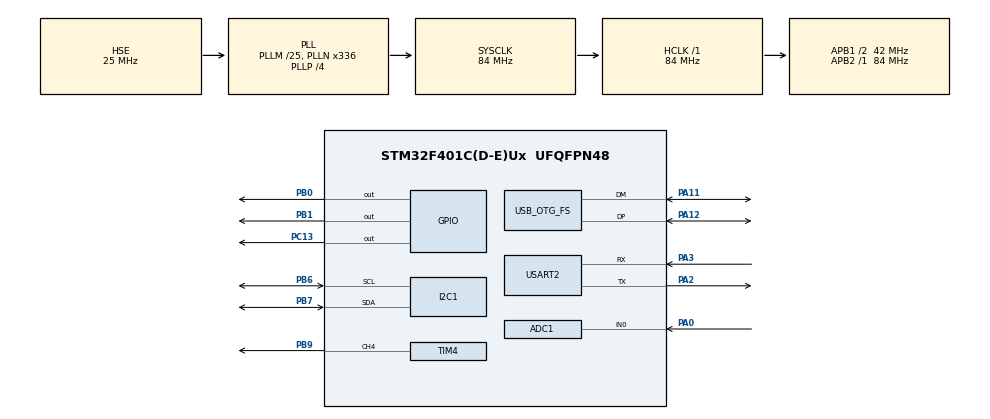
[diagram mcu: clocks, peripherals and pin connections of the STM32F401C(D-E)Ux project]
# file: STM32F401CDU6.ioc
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ADC1.Channel-0\#ChannelRegularConversion=ADC_CHANNEL_VREFINT
ADC1.Channel-1\#ChannelRegularConversion=ADC_CHANNEL_0
ADC1.ContinuousConvMode=ENABLE
ADC1.DMAContinuousRequests=ENABLE
ADC1.EOCSelection=ADC_EOC_SEQ_CONV
ADC1.NbrOfConversion=2
ADC1.NbrOfConversionFlag=1
ADC1.Rank-0\#ChannelRegularConversion=1
ADC1.Rank-1\#ChannelRegularConversion=2
ADC1.SamplingTime-0\#ChannelRegularConversion=ADC_SAMPLETIME_144CYCLES
ADC1.SamplingTime-1\#ChannelRegularConversion=ADC_SAMPLETIME_144CYCLES
ADC1.ScanConvMode=ENABLE
ADC1.master=1
Dma.ADC1.0.Direction=DMA_PERIPH_TO_MEMORY
Dma.ADC1.0.FIFOMode=DMA_FIFOMODE_DISABLE
Dma.ADC1.0.Instance=DMA2_Stream0
Dma.ADC1.0.MemDataAlignment=DMA_MDATAALIGN_HALFWORD
Dma.ADC1.0.MemInc=DMA_MINC_ENABLE
Dma.ADC1.0.Mode=DMA_CIRCULAR
Dma.ADC1.0.PeriphDataAlignment=DMA_PDATAALIGN_HALFWORD
Dma.ADC1.0.PeriphInc=DMA_PINC_DISABLE
Dma.ADC1.0.Priority=DMA_PRIORITY_LOW
Dma.Request0=ADC1
I2C1.I2C_Mode=I2C_Fast
Mcu.Family=STM32F4
Mcu.Name=STM32F401C(D-E)Ux
Mcu.Package=UFQFPN48
NVIC.DMA2_Stream0_IRQn=true\:0\:0\:false\:false\:true\:false\:true\:true
NVIC.OTG_FS_IRQn=true\:0\:0\:false\:false\:true\:false\:true\:true
NVIC.PriorityGroup=NVIC_PRIORITYGROUP_4
PA0-WKUP.Signal=ADCx_IN0
PA11.Mode=Device_Only
PA11.Signal=USB_OTG_FS_DM
PA12.Mode=Device_Only
PA12.Signal=USB_OTG_FS_DP
PA13.Mode=Serial_Wire
PA13.Signal=SYS_JTMS-SWDIO
PA14.Mode=Serial_Wire
PA14.Signal=SYS_JTCK-SWCLK
PA2.Mode=Asynchronous
PA2.Signal=USART2_TX
PA3.Mode=Asynchronous
PA3.Signal=USART2_RX
PB0.Signal=GPIO_Output
PB1.Signal=GPIO_Output
PB6.Mode=I2C
PB6.Signal=I2C1_SCL
PB7.Mode=I2C
PB7.Signal=I2C1_SDA
PB9.Signal=S_TIM4_CH4
PC13-ANTI_TAMP.Signal=GPIO_Output
PH0\ -\ OSC_IN.Mode=HSE-External-Oscillator
PH0\ -\ OSC_IN.Signal=RCC_OSC_IN
PH1\ -\ OSC_OUT.Mode=HSE-External-Oscillator
PH1\ -\ OSC_OUT.Signal=RCC_OSC_OUT
ProjectManager.HeapSize=0x200
ProjectManager.StackSize=0x400
ProjectManager.TargetToolchain=STM32CubeIDE
RCC.48MHZClocksFreq_Value=48000000
RCC.AHBFreq_Value=84000000
RCC.APB1CLKDivider=RCC_HCLK_DIV2
RCC.APB1Freq_Value=42000000
RCC.APB1TimFreq_Value=84000000
RCC.APB2Freq_Value=84000000
RCC.APB2TimFreq_Value=84000000
RCC.CortexFreq_Value=84000000
RCC.HCLKFreq_Value=84000000
RCC.HSE_VALUE=25000000
RCC.HSI_VALUE=16000000
RCC.LSE_VALUE=32768
RCC.PLLM=25
RCC.PLLN=336
RCC.PLLP=RCC_PLLP_DIV4
RCC.PLLQ=7
RCC.SYSCLKFreq_VALUE=84000000
RCC.SYSCLKSource=RCC_SYSCLKSOURCE_PLLCLK
RCC.VCOOutputFreq_Value=336000000
SH.ADCx_IN0.0=ADC1_IN0,IN0
SH.S_TIM4_CH4.0=TIM4_CH4,PWM Generation4 CH4
TIM4.AutoReloadPreload=TIM_AUTORELOAD_PRELOAD_ENABLE
TIM4.Channel-PWM\ Generation4\ CH4=TIM_CHANNEL_4
TIM4.Period=65535
TIM4.Prescaler=0
USART2.VirtualMode=VM_ASYNC
USB_DEVICE.CLASS_NAME_FS=CDC
USB_DEVICE.VirtualMode-CDC_FS=Cdc
USB_DEVICE.VirtualModeFS=Cdc_FS
USB_OTG_FS.VirtualMode=Device_Only
VP_ADC1_Vref_Input.Mode=IN-Vrefint
VP_TIM4_VS_ClockSourceINT.Mode=Internal
VP_USB_DEVICE_VS_USB_DEVICE_CDC_FS.Mode=CDC_FS
board=custom

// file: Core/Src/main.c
/* USER CODE BEGIN Header */
/**
  ******************************************************************************
  * @file           : main.c
  * @brief          : Main program body
  ******************************************************************************
  * @attention
  *
  * Copyright (c) 2025 STMicroelectronics.
  * All rights reserved.
  *
  * This software is licensed under terms that can be found in the LICENSE file
  * in the root directory of this software component.
  * If no LICENSE file comes with this software, it is provided AS-IS.
  *
  ******************************************************************************
  */
/* USER CODE END Header */
#include "main.h"
#include "usb_device.h"

/* USER CODE BEGIN Includes */
#include "ssd1306.h"
#include "ssd1306_fonts.h"
#include "usbd_cdc_if.h"
#include <stdio.h>
#include <string.h>
#include <math.h>
/* USER CODE END Includes */

/* USER CODE BEGIN PD */
#define LED_PIN GPIO_PIN_13
#define LED_PIN_2 GPIO_PIN_0
#define LED_PIN_3 GPIO_PIN_1
#define INTERVAL 1000
#define R_FIXED 10000.0f
#define M_SLOPE -0.7f
#define B_INTERCEPT 5.39897f
/* USER CODE END PD */

ADC_HandleTypeDef hadc1;
DMA_HandleTypeDef hdma_adc1;

I2C_HandleTypeDef hi2c1;

TIM_HandleTypeDef htim4;

UART_HandleTypeDef huart2;

/* USER CODE BEGIN PV */
volatile uint16_t adcValue[2];
/* USER CODE END PV */

void SystemClock_Config(void);
static void MX_GPIO_Init(void);
static void MX_DMA_Init(void);
static void MX_ADC1_Init(void);
static void MX_USART2_UART_Init(void);
static void MX_TIM4_Init(void);
static void MX_I2C1_Init(void);

/* USER CODE BEGIN 0 */
int _write(int file, char *ptr, int len) {
  uint32_t start = HAL_GetTick();

  while (CDC_Transmit_FS((uint8_t*)ptr, len)/* ; */ == USBD_BUSY) {
    HAL_Delay(1); // Tunggu sampai buffer kosong

    if (HAL_GetTick() - start >= 50)
      break;
  }

  return len;
}
/* USER CODE END 0 */

int main(void)
{

  /* MCU Configuration--------------------------------------------------------*/

  /* Reset of all peripherals, Initializes the Flash interface and the Systick. */
  HAL_Init();

  /* Configure the system clock */
  SystemClock_Config();

  /* Initialize all configured peripherals */
  MX_GPIO_Init();
  MX_DMA_Init();
  MX_ADC1_Init();
  MX_USART2_UART_Init();
  MX_TIM4_Init();
  MX_USB_DEVICE_Init();
  MX_I2C1_Init();
  /* USER CODE BEGIN 2 */
  ssd1306_Init();
  HAL_ADC_Start_DMA(&hadc1, (uint32_t*)adcValue, 2);
  HAL_TIM_PWM_Start(&htim4, TIM_CHANNEL_4);

  int8_t direction = 1;
  uint8_t /* messageBuffer[32],  */state = 1, lastState = 0, led2State = 0;
  uint16_t digitalDataPwm = 0;
  uint32_t currentMillis, previousMillis = 0, prevMilLed2 = 0, prevMilLed3 = 0;
  float voltageLdr, resistanceLdr, lux;
  char msg1th[24];
  char msg2th[24];
  char msg3th[24];
  /* USER CODE END 2 */

  /* Infinite loop */
  /* USER CODE BEGIN WHILE */
  while (1) {
    currentMillis = HAL_GetTick();

    if (currentMillis - previousMillis >= INTERVAL) {
      previousMillis = currentMillis;

      HAL_GPIO_TogglePin(GPIOC, LED_PIN);

      // Konfersi data digital ke lux
      voltageLdr = (float)adcValue[1] / 4095.0f * 3.3f;
      resistanceLdr = R_FIXED * (voltageLdr / (3.3f - voltageLdr));
      lux = powf(10.0f, (log10f(resistanceLdr) - B_INTERCEPT) / M_SLOPE);

      // snprintf((char*)messageBuffer, sizeof(messageBuffer), "Nilai digital Vrefint: %u\r\n", adcValue[0]);
      // HAL_UART_Transmit(&huart2, messageBuffer, strlen((char*)messageBuffer), HAL_MAX_DELAY);

      printf("---\r\nNilai digital Vrefint: %u\r\n", adcValue[0]);
      printf("Nilai digital LDR: %u\r\n", adcValue[1]);
      printf("Nilai lux: %f\r\n^^^\r\n", lux);

      snprintf(msg1th, sizeof(msg1th), "  \"vrefint\": %u,", adcValue[0]);
      snprintf(msg2th, sizeof(msg2th), "  \"ldr\": %u,", adcValue[1]);
      snprintf(msg3th, sizeof(msg3th), "  \"lux\": %.2f", lux);

      ssd1306_Fill(Black);
      ssd1306_SetCursor(0, 0);
      ssd1306_WriteString("{", Font_7x10, White);
      ssd1306_SetCursor(0, 10);
      ssd1306_WriteString(msg1th, Font_7x10, White);
      ssd1306_SetCursor(0, 20);
      ssd1306_WriteString(msg2th, Font_7x10, White);
      ssd1306_SetCursor(0, 30);
      ssd1306_WriteString(msg3th, Font_7x10, White);
      ssd1306_SetCursor(0, 40);
      ssd1306_WriteString("}", Font_7x10, White);
      ssd1306_UpdateScreen();
    }

    if (currentMillis - prevMilLed2 >= 2000) { // Matikan
      prevMilLed2 = currentMillis;

      led2State = 1;
      state = 0;

      // __HAL_TIM_SET_COMPARE(&htim1, TIM_CHANNEL_3, 750);
      // TIM4->CCR4 = 65535;
      HAL_GPIO_WritePin(GPIOB, LED_PIN_3, GPIO_PIN_SET);
    }

    if (currentMillis - prevMilLed2 >= 500 && led2State) { // Hidupkan
      led2State = 0;
      state = 1;

      // __HAL_TIM_SET_COMPARE(&htim1, TIM_CHANNEL_3, 250);
      // TIM4->CCR4 = 16383;
      HAL_GPIO_WritePin(GPIOB, LED_PIN_3, GPIO_PIN_RESET);
    }

    if (state != lastState) { // Loop pertama hidup
      HAL_GPIO_TogglePin(GPIOB, LED_PIN_2);

      lastState = state;
    }

    if (currentMillis - prevMilLed3 >= 8) {
      prevMilLed3 = currentMillis;
      TIM4->CCR4 = digitalDataPwm;

      digitalDataPwm += direction * 257;

      if (digitalDataPwm >= 65535 || digitalDataPwm <= 0) {
        direction *= -1;
      }
    }
    /* USER CODE END WHILE */

  }
}

void SystemClock_Config(void)
{
  RCC_OscInitTypeDef RCC_OscInitStruct = {0};
  RCC_ClkInitTypeDef RCC_ClkInitStruct = {0};

  /** Configure the main internal regulator output voltage
  */
  __HAL_RCC_PWR_CLK_ENABLE();
  __HAL_PWR_VOLTAGESCALING_CONFIG(PWR_REGULATOR_VOLTAGE_SCALE2);

  /** Initializes the RCC Oscillators according to the specified parameters
  * in the RCC_OscInitTypeDef structure.
  */
  RCC_OscInitStruct.OscillatorType = RCC_OSCILLATORTYPE_HSE;
  RCC_OscInitStruct.HSEState = RCC_HSE_ON;
  RCC_OscInitStruct.PLL.PLLState = RCC_PLL_ON;
  RCC_OscInitStruct.PLL.PLLSource = RCC_PLLSOURCE_HSE;
  RCC_OscInitStruct.PLL.PLLM = 25;
  RCC_OscInitStruct.PLL.PLLN = 336;
  RCC_OscInitStruct.PLL.PLLP = RCC_PLLP_DIV4;
  RCC_OscInitStruct.PLL.PLLQ = 7;
  if (HAL_RCC_OscConfig(&RCC_OscInitStruct) != HAL_OK)
  {
    Error_Handler();
  }

  /** Initializes the CPU, AHB and APB buses clocks
  */
  RCC_ClkInitStruct.ClockType = RCC_CLOCKTYPE_HCLK|RCC_CLOCKTYPE_SYSCLK
                              |RCC_CLOCKTYPE_PCLK1|RCC_CLOCKTYPE_PCLK2;
  RCC_ClkInitStruct.SYSCLKSource = RCC_SYSCLKSOURCE_PLLCLK;
  RCC_ClkInitStruct.AHBCLKDivider = RCC_SYSCLK_DIV1;
  RCC_ClkInitStruct.APB1CLKDivider = RCC_HCLK_DIV2;
  RCC_ClkInitStruct.APB2CLKDivider = RCC_HCLK_DIV1;

  if (HAL_RCC_ClockConfig(&RCC_ClkInitStruct, FLASH_LATENCY_2) != HAL_OK)
  {
    Error_Handler();
  }
}

static void MX_ADC1_Init(void)
{

  ADC_ChannelConfTypeDef sConfig = {0};

  /** Configure the global features of the ADC (Clock, Resolution, Data Alignment and number of conversion)
  */
  hadc1.Instance = ADC1;
  hadc1.Init.ClockPrescaler = ADC_CLOCK_SYNC_PCLK_DIV4;
  hadc1.Init.Resolution = ADC_RESOLUTION_12B;
  hadc1.Init.ScanConvMode = ENABLE;
  hadc1.Init.ContinuousConvMode = ENABLE;
  hadc1.Init.DiscontinuousConvMode = DISABLE;
  hadc1.Init.ExternalTrigConvEdge = ADC_EXTERNALTRIGCONVEDGE_NONE;
  hadc1.Init.ExternalTrigConv = ADC_SOFTWARE_START;
  hadc1.Init.DataAlign = ADC_DATAALIGN_RIGHT;
  hadc1.Init.NbrOfConversion = 2;
  hadc1.Init.DMAContinuousRequests = ENABLE;
  hadc1.Init.EOCSelection = ADC_EOC_SEQ_CONV;
  if (HAL_ADC_Init(&hadc1) != HAL_OK)
  {
    Error_Handler();
  }

  /** Configure for the selected ADC regular channel its corresponding rank in the sequencer and its sample time.
  */
  sConfig.Channel = ADC_CHANNEL_VREFINT;
  sConfig.Rank = 1;
  sConfig.SamplingTime = ADC_SAMPLETIME_144CYCLES;
  if (HAL_ADC_ConfigChannel(&hadc1, &sConfig) != HAL_OK)
  {
    Error_Handler();
  }

  /** Configure for the selected ADC regular channel its corresponding rank in the sequencer and its sample time.
  */
  sConfig.Channel = ADC_CHANNEL_0;
  sConfig.Rank = 2;
  if (HAL_ADC_ConfigChannel(&hadc1, &sConfig) != HAL_OK)
  {
    Error_Handler();
  }

}

static void MX_I2C1_Init(void)
{

  hi2c1.Instance = I2C1;
  hi2c1.Init.ClockSpeed = 400000;
  hi2c1.Init.DutyCycle = I2C_DUTYCYCLE_2;
  hi2c1.Init.OwnAddress1 = 0;
  hi2c1.Init.AddressingMode = I2C_ADDRESSINGMODE_7BIT;
  hi2c1.Init.DualAddressMode = I2C_DUALADDRESS_DISABLE;
  hi2c1.Init.OwnAddress2 = 0;
  hi2c1.Init.GeneralCallMode = I2C_GENERALCALL_DISABLE;
  hi2c1.Init.NoStretchMode = I2C_NOSTRETCH_DISABLE;
  if (HAL_I2C_Init(&hi2c1) != HAL_OK)
  {
    Error_Handler();
  }

}

static void MX_TIM4_Init(void)
{

  TIM_ClockConfigTypeDef sClockSourceConfig = {0};
  TIM_MasterConfigTypeDef sMasterConfig = {0};
  TIM_OC_InitTypeDef sConfigOC = {0};

  htim4.Instance = TIM4;
  htim4.Init.Prescaler = 0;
  htim4.Init.CounterMode = TIM_COUNTERMODE_UP;
  htim4.Init.Period = 65535;
  htim4.Init.ClockDivision = TIM_CLOCKDIVISION_DIV1;
  htim4.Init.AutoReloadPreload = TIM_AUTORELOAD_PRELOAD_ENABLE;
  if (HAL_TIM_Base_Init(&htim4) != HAL_OK)
  {
    Error_Handler();
  }
  sClockSourceConfig.ClockSource = TIM_CLOCKSOURCE_INTERNAL;
  if (HAL_TIM_ConfigClockSource(&htim4, &sClockSourceConfig) != HAL_OK)
  {
    Error_Handler();
  }
  if (HAL_TIM_PWM_Init(&htim4) != HAL_OK)
  {
    Error_Handler();
  }
  sMasterConfig.MasterOutputTrigger = TIM_TRGO_RESET;
  sMasterConfig.MasterSlaveMode = TIM_MASTERSLAVEMODE_DISABLE;
  if (HAL_TIMEx_MasterConfigSynchronization(&htim4, &sMasterConfig) != HAL_OK)
  {
    Error_Handler();
  }
  sConfigOC.OCMode = TIM_OCMODE_PWM1;
  sConfigOC.Pulse = 0;
  sConfigOC.OCPolarity = TIM_OCPOLARITY_HIGH;
  sConfigOC.OCFastMode = TIM_OCFAST_DISABLE;
  if (HAL_TIM_PWM_ConfigChannel(&htim4, &sConfigOC, TIM_CHANNEL_4) != HAL_OK)
  {
    Error_Handler();
  }
  HAL_TIM_MspPostInit(&htim4);

}

static void MX_USART2_UART_Init(void)
{

  huart2.Instance = USART2;
  huart2.Init.BaudRate = 115200;
  huart2.Init.WordLength = UART_WORDLENGTH_8B;
  huart2.Init.StopBits = UART_STOPBITS_1;
  huart2.Init.Parity = UART_PARITY_NONE;
  huart2.Init.Mode = UART_MODE_TX_RX;
  huart2.Init.HwFlowCtl = UART_HWCONTROL_NONE;
  huart2.Init.OverSampling = UART_OVERSAMPLING_16;
  if (HAL_UART_Init(&huart2) != HAL_OK)
  {
    Error_Handler();
  }

}

static void MX_DMA_Init(void)
{

  /* DMA controller clock enable */
  __HAL_RCC_DMA2_CLK_ENABLE();

  /* DMA interrupt init */
  /* DMA2_Stream0_IRQn interrupt configuration */
  HAL_NVIC_SetPriority(DMA2_Stream0_IRQn, 0, 0);
  HAL_NVIC_EnableIRQ(DMA2_Stream0_IRQn);

}

static void MX_GPIO_Init(void)
{
  GPIO_InitTypeDef GPIO_InitStruct = {0};

  /* GPIO Ports Clock Enable */
  __HAL_RCC_GPIOC_CLK_ENABLE();
  __HAL_RCC_GPIOH_CLK_ENABLE();
  __HAL_RCC_GPIOA_CLK_ENABLE();
  __HAL_RCC_GPIOB_CLK_ENABLE();

  /*Configure GPIO pin Output Level */
  HAL_GPIO_WritePin(GPIOC, GPIO_PIN_13, GPIO_PIN_RESET);

  /*Configure GPIO pin Output Level */
  HAL_GPIO_WritePin(GPIOB, GPIO_PIN_0|GPIO_PIN_1, GPIO_PIN_RESET);

  /*Configure GPIO pin : PC13 */
  GPIO_InitStruct.Pin = GPIO_PIN_13;
  GPIO_InitStruct.Mode = GPIO_MODE_OUTPUT_PP;
  GPIO_InitStruct.Pull = GPIO_NOPULL;
  GPIO_InitStruct.Speed = GPIO_SPEED_FREQ_LOW;
  HAL_GPIO_Init(GPIOC, &GPIO_InitStruct);

  /*Configure GPIO pins : PB0 PB1 */
  GPIO_InitStruct.Pin = GPIO_PIN_0|GPIO_PIN_1;
  GPIO_InitStruct.Mode = GPIO_MODE_OUTPUT_PP;
  GPIO_InitStruct.Pull = GPIO_NOPULL;
  GPIO_InitStruct.Speed = GPIO_SPEED_FREQ_LOW;
  HAL_GPIO_Init(GPIOB, &GPIO_InitStruct);

}

void Error_Handler(void)
{
  __disable_irq();
  while (1)
  {
  }
}
